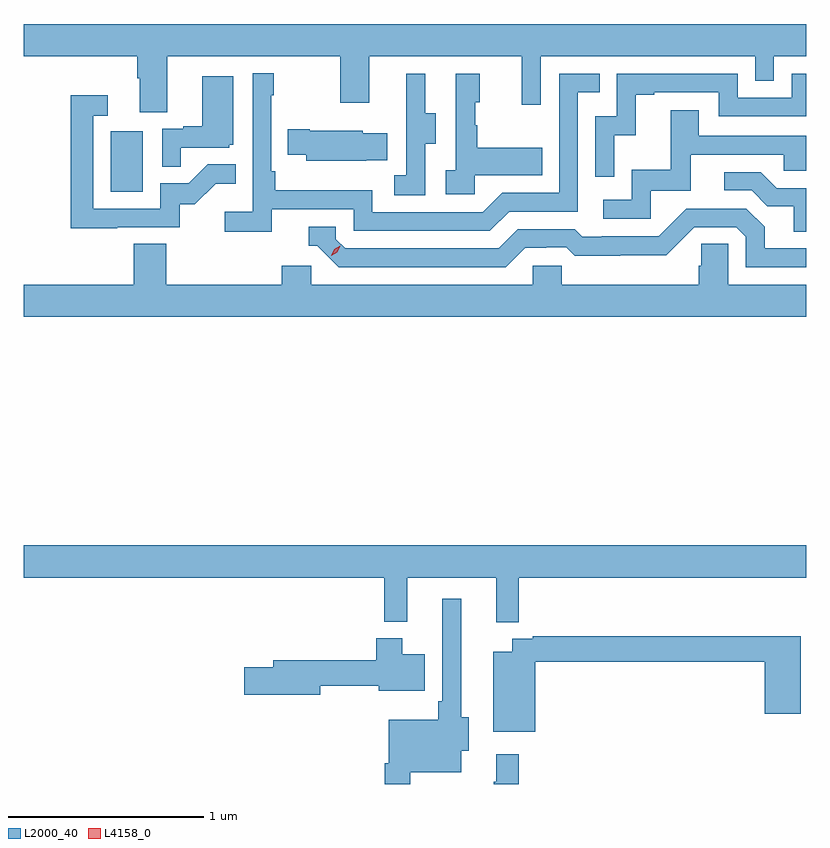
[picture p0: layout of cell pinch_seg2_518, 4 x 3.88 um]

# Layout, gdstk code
import gdstk
lib = gdstk.Library(unit=1e-6, precision=1e-09)
def R(c, l, rs):  # rectangles x0, y0, x1, y1
    for r in rs: c.add(gdstk.rectangle(r[:2], r[2:], *l))
def P(c, l, *ps):  # polygons
    for p in ps: c.add(gdstk.Polygon(p, *l))
L2000_40 = (2000, 40)
L4158_0 = (4158, 0)

pinch_seg2_518 = lib.new_cell('pinch_seg2_518')
R(pinch_seg2_518, L2000_40, [(1008.476,602.988,1008.64,603.295)])
P(pinch_seg2_518, L2000_40, [(1008.763,603.68),(1009.648,603.68),(1009.648,603.441),(1009.795,603.441),(1009.795,603.68),(1010.576,603.68),(1010.576,603.432),(1010.673,603.432),(1010.673,603.68),(1011.768,603.68),(1011.768,603.553),(1011.864,603.553),(1011.864,603.68),(1012.03,603.68),(1012.03,603.844),(1008.03,603.844),(1008.03,603.68),(1008.611,603.68),(1008.611,603.568),(1008.623,603.568),(1008.623,603.394),(1008.763,603.394)],
  [(1009.298,602.898),(1009.716,602.898),(1009.716,602.787),(1010.413,602.787),(1010.512,602.886),(1010.862,602.886),(1010.862,603.495),(1010.975,603.495),(1010.975,603.591),(1010.766,603.591),(1010.766,602.982),(1010.475,602.982),(1010.376,602.883),(1009.812,602.883),(1009.812,602.995),(1009.316,602.995),(1009.316,603.091),(1009.296,603.091),(1009.296,603.479),(1009.309,603.479),(1009.309,603.592),(1009.2,603.592),(1009.2,602.884),(1009.059,602.884),(1009.059,602.782),(1009.298,602.782)],
  [(1011.048,603.275),(1011.158,603.275),(1011.158,603.483),(1011.253,603.483),(1011.253,603.495),(1011.582,603.495),(1011.582,603.372),(1012.03,603.372),(1012.03,603.591),(1011.954,603.591),(1011.954,603.468),(1011.678,603.468),(1011.678,603.591),(1011.06,603.591),(1011.06,603.372),(1010.952,603.372),(1010.952,603.063),(1011.048,603.063)],
  [(1010.334,603.071),(1010.681,603.071),(1010.681,603.211),(1010.347,603.211),(1010.347,603.326),(1010.337,603.326),(1010.337,603.444),(1010.362,603.444),(1010.362,603.589),(1010.238,603.589),(1010.238,603.098),(1010.187,603.098),(1010.187,602.973),(1010.334,602.973)],
  [(1010.082,603.232),(1010.137,603.232),(1010.137,603.387),(1010.083,603.387),(1010.083,603.589),(1009.985,603.589),(1009.985,603.375),(1009.986,603.375),(1009.986,603.071),(1009.923,603.071),(1009.923,602.968),(1010.082,602.968)],
  [(1008.833,603.213),(1009.08,603.213),(1009.08,603.228),(1009.102,603.228),(1009.102,603.577),(1008.944,603.577),(1008.944,603.322),(1008.845,603.322),(1008.845,603.309),(1008.738,603.309),(1008.738,603.115),(1008.833,603.115)],
  [(1008.509,602.805),(1008.828,602.805),(1008.828,602.922),(1008.904,602.922),(1009.011,603.029),(1009.115,603.029),(1009.115,603.128),(1008.971,603.128),(1008.873,603.03),(1008.729,603.03),(1008.729,602.901),(1008.387,602.901),(1008.387,603.375),(1008.46,603.375),(1008.46,603.481),(1008.271,603.481),(1008.271,602.8),(1008.509,602.8)],
  [(1011.234,602.991),(1011.439,602.991),(1011.439,603.177),(1011.913,603.177),(1011.913,603.093),(1012.03,603.093),(1012.03,603.273),(1011.481,603.273),(1011.481,603.403),(1011.337,603.403),(1011.337,603.1),(1011.138,603.1),(1011.138,602.946),(1010.991,602.946),(1010.991,602.85),(1011.234,602.85)],
  [(1009.781,603.149),(1009.889,603.149),(1009.889,603.286),(1009.764,603.286),(1009.764,603.298),(1009.492,603.298),(1009.492,603.306),(1009.381,603.306),(1009.381,603.176),(1009.475,603.176),(1009.475,603.146),(1009.781,603.146)],
  [(1012.03,603.006),(1011.877,603.006),(1011.796,603.087),(1011.609,603.087),(1011.609,602.994),(1011.75,602.994),(1011.83,602.914),(1011.965,602.914),(1011.965,602.782),(1012.03,602.782)],
  [(1010.593,602.7),(1010.7,602.7),(1010.7,602.703),(1010.803,602.703),(1010.845,602.661),(1011.078,602.661),(1011.078,602.663),(1011.314,602.663),(1011.456,602.805),(1011.672,602.805),(1011.72,602.757),(1011.72,602.601),(1012.03,602.601),(1012.03,602.697),(1011.817,602.697),(1011.817,602.807),(1011.723,602.901),(1011.417,602.901),(1011.276,602.76),(1010.983,602.76),(1010.983,602.757),(1010.884,602.757),(1010.845,602.796),(1010.556,602.796),(1010.457,602.697),(1009.674,602.697),(1009.626,602.745),(1009.626,602.808),(1009.487,602.808),(1009.487,602.712),(1009.53,602.712),(1009.641,602.601),(1010.494,602.601)],
  [(1012.03,602.512),(1011.63,602.512),(1011.63,602.72),(1011.493,602.72),(1011.493,602.61),(1011.479,602.61),(1011.479,602.512),(1010.781,602.512),(1010.781,602.61),(1010.631,602.61),(1010.631,602.512),(1009.5,602.512),(1009.5,602.61),(1009.349,602.61),(1009.349,602.512),(1008.758,602.512),(1008.758,602.72),(1008.593,602.72),(1008.593,602.512),(1008.03,602.512),(1008.03,602.348),(1012.03,602.348)],
  [(1010.561,601.016),(1012.03,601.016),(1012.03,601.18),(1008.03,601.18),(1008.03,601.016),(1009.873,601.016),(1009.873,600.791),(1009.991,600.791),(1009.991,601.016),(1010.444,601.016),(1010.444,600.787),(1010.561,600.787)],
  [(1010.005,600.02),(1010.266,600.02),(1010.266,600.131),(1010.305,600.131),(1010.305,600.302),(1010.266,600.302),(1010.266,600.907),(1010.169,600.907),(1010.169,600.385),(1010.149,600.385),(1010.149,600.289),(1009.896,600.289),(1009.896,600.067),(1009.876,600.067),(1009.876,599.961),(1010.005,599.961)],
  [(1010.644,600.586),(1011.818,600.586),(1011.818,600.321),(1012.001,600.321),(1012.001,600.715),(1010.632,600.715),(1010.632,600.702),(1010.528,600.702),(1010.528,600.637),(1010.429,600.637),(1010.429,600.227),(1010.644,600.227)],
  [(1009.546,600.463),(1009.844,600.463),(1009.844,600.437),(1010.08,600.437),(1010.08,600.625),(1009.966,600.625),(1009.966,600.706),(1009.832,600.706),(1009.832,600.592),(1009.307,600.592),(1009.307,600.558),(1009.158,600.558),(1009.158,600.416),(1009.546,600.416)],
  [(1010.561,600.112),(1010.444,600.112),(1010.444,599.972),(1010.433,599.972),(1010.433,599.961),(1010.561,599.961)])
P(pinch_seg2_518, L4158_0, [(1009.602,602.66),(1009.602,602.66),(1009.618,602.693),(1009.648,602.712),(1009.649,602.712),(1009.649,602.712),(1009.633,602.679),(1009.602,602.66)])

lib.write_gds('pinch_seg2_518.gds')
